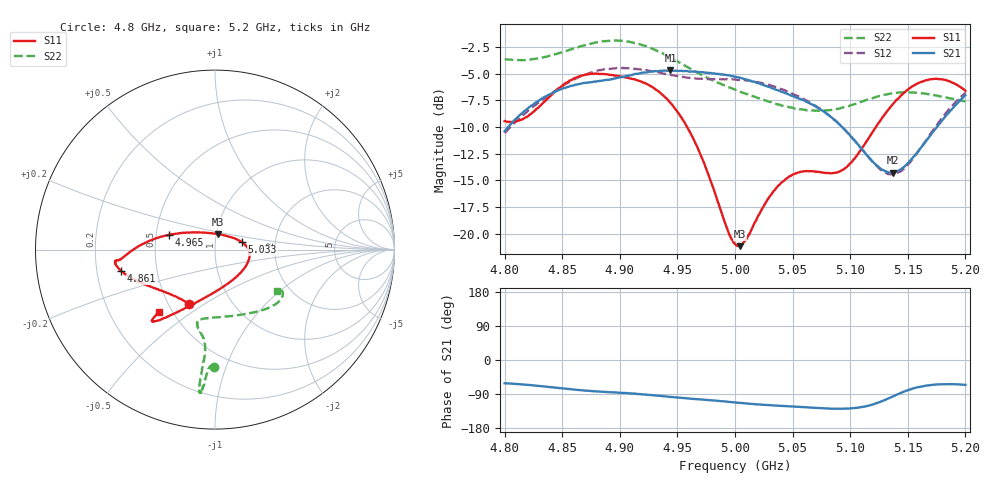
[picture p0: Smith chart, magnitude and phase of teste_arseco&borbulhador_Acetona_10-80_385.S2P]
! Network Analyzer HP8722D
! Hewlett-Packard
! Data name: Linha & Wilkinson
! Saver's name: Rodrigo Anjos
! Comments: Teste da utilização de aquisição
! continua pelo VNA HP8722D
! Time and date: 17/4/2025 17:34
!  Frequency  S11  S21  S12  S22
# HZ  S  MA R 50
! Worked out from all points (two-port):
!   401 points, 4.8 GHz to 5.2 GHz, reference 50 ohm
!   highest |S21| = -4.70 dB at 4.944 GHz (marker M1); lowest = -14.3 dB at 5.137 GHz (marker M2)
!   |S21| within 3 dB of the highest: 4.827 GHz to 5.063 GHz (236.1 MHz wide, 4.77 % of centre); 5.193597 GHz to end of sweep
!   lowest |S11| = -21.2 dB at 5.004 GHz (marker M3), VSWR 1.19, Z = 51.1 + j8.82 ohm
!   |S11| at or under -10 dB: 4.958 GHz to 5.122 GHz (163.8 MHz wide, 3.25 % of centre)
!   |S22| runs from -8.5 to -1.9 dB; largest |S21 - S12| = 0.87
!   S11 on the Smith chart (normalised r, x): 4.8 GHz: 0.63, -0.44; 4.861 GHz: 0.31, -0.10; 4.965 GHz: 0.58, +0.10; 5.033 GHz: 1.35, +0.11; 5.2 GHz: 0.42, -0.38
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4.8e9  0.337 -115.2  0.3017 -61.4  0.2963 -175.6  0.6566 -90.6
4.819e9  0.3525 -135.3  0.3816 -65.1  0.3701 -174.8  0.6525 -92.3
4.861e9  0.5361 -167.1  0.4975 -78.4  0.5302 -178.2  0.7393 -94.6
4.867e9  0.5495 -169.5  0.5054 -80.0  0.5475 -179.3  0.7573 -94.6
4.899e9  0.547 -173.7  0.5379 -86.3  0.5949 174.4  0.8006 -96.1
4.934e9  0.4627 -179.4  0.5774 -94.6  0.5698 170.9  0.7108 -96.4
4.944e9  0.4098 176.1  0.5818 -97.4  0.5547 171.1  0.6678 -96.2
4.965e9  0.27 162.3  0.5751 -103.0  0.534 172.9  0.5772 -95.6
4.994e9  0.1027 114.7  0.5518 -110.3  0.528 175.1  0.4862 -98.1
5e9  0.08973 93.2  0.5432 -112.1  0.5281 175.4  0.4726 -99.5
5.004e9  0.08757 77.9  0.5382 -113.0  0.5251 175.4  0.4643 -100.3
5.033e9  0.1571 15.0  0.4791 -119.7  0.491 174.0  0.4101 -103.3
5.049e9  0.1874 -0.7  0.4424 -122.6  0.4554 173.3  0.3899 -99.3
5.067e9  0.1963 -20.0  0.4034 -125.6  0.4067 172.9  0.378 -89.7
5.096e9  0.2037 -70.4  0.3036 -128.2  0.3046 174.7  0.3928 -67.0
5.121e9  0.3084 -109.0  0.2136 -116.1  0.2126 -170.9  0.4344 -49.8
5.134e9  0.3864 -119.2  0.1936 -100.2  0.1902 -153.4  0.452 -43.2
5.137e9  0.4041 -120.9  0.1933 -96.2  0.1901 -148.5  0.4548 -42.0
5.15e9  0.4722 -126.3  0.214 -79.9  0.2103 -129.6  0.4594 -37.1
5.168e9  0.5262 -130.4  0.2816 -66.9  0.2849 -113.2  0.4493 -32.8
5.184e9  0.5216 -131.8  0.362 -63.7  0.3725 -108.0  0.4338 -31.7
5.2e9  0.4667 -131.9  0.4445 -65.6  0.4564 -107.6  0.4161 -34.1
